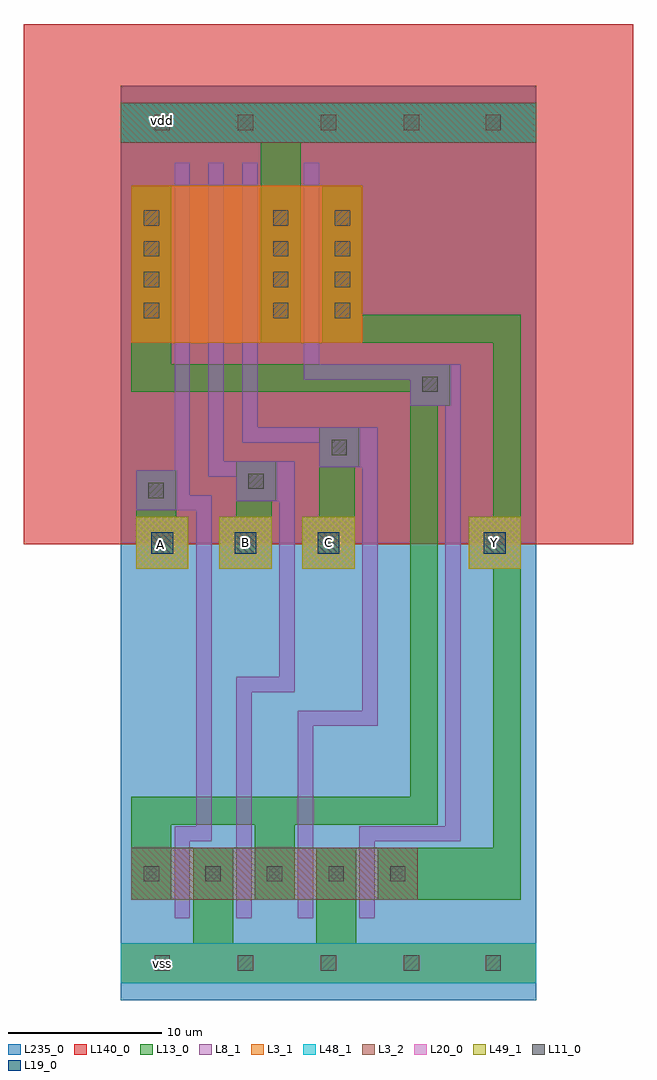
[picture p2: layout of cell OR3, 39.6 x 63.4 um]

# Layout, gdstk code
import gdstk
lib = gdstk.Library(unit=1e-6, precision=1e-09)
def R(c, l, rs):  # rectangles x0, y0, x1, y1
    for r in rs: c.add(gdstk.rectangle(r[:2], r[2:], *l))
def A(c, l, x, y, w, h, nx, ny, dx, dy):  # array of equal rectangles
    R(c, l, [(x+i*dx, y+j*dy, x+i*dx+w, y+j*dy+h) for i in range(nx) for j in range(ny)])
def P(c, l, *ps):  # polygons
    for p in ps: c.add(gdstk.Polygon(p, *l))
L3_1 = (3, 1)
L3_2 = (3, 2)
L8_1 = (8, 1)
L11_0 = (11, 0)
L13_0 = (13, 0)
L19_0 = (19, 0)
L20_0 = (20, 0)
L48_1 = (48, 1)
L49_1 = (49, 1)
L140_0 = (140, 0)
L235_0 = (235, 0)

or3 = lib.new_cell('OR3')
R(or3, L3_1, [(0,1.1,27,3.7), (0.7,42.7,15.7,52.9)])
R(or3, L3_2, [(0.7,6.5,19.3,9.9), (0,55.7,27,58.3)])
P(or3, L8_1, [(3.5,5.3),(3.5,11.3),(4.9,11.3),(4.9,31.8),(1,31.8),(1,34.4),(3.5,34.4),(3.5,54.4),(4.5,54.4),(4.5,32.8),(5.9,32.8),(5.9,10.3),(4.5,10.3),(4.5,5.3)],
  [(7.5,5.3),(7.5,21),(10.3,21),(10.3,32.4),(7.5,32.4),(7.5,34),(5.7,34),(5.7,54.4),(6.7,54.4),(6.7,35),(11.3,35),(11.3,20),(8.5,20),(8.5,5.3)],
  [(11.5,5.3),(11.5,18.8),(15.7,18.8),(15.7,34.6),(12.9,34.6),(12.9,37.2),(16.7,37.2),(16.7,17.8),(12.5,17.8),(12.5,5.3)],
  [(15.5,5.3),(15.5,11.3),(21.1,11.3),(21.1,38.6),(18.8,38.6),(18.8,40.3),(11.9,40.3),(11.9,54.4),(12.9,54.4),(12.9,41.3),(22.1,41.3),(22.1,10.3),(16.5,10.3),(16.5,5.3)],
  [(7.9,36.2),(7.9,54.4),(8.9,54.4),(8.9,37.2),(12.9,37.2),(12.9,36.2)])
A(or3, L11_0, 7.6, 1.9, 1, 1, 3, 2, 5.4, 54.6)
A(or3, L11_0, 1.5, 7.7, 1, 1, 5, 1, 4, 0)
A(or3, L11_0, 1.5, 44.3, 1, 1, 1, 4, 0, 2)
A(or3, L11_0, 9.9, 44.3, 1, 1, 1, 4, 0, 2)
A(or3, L11_0, 13.9, 44.3, 1, 1, 1, 4, 0, 2)
R(or3, L11_0, [(2.2,1.9,3.2,2.9), (7.6,1.9,8.6,2.9), (23.7,1.9,24.7,2.9), (1.8,32.6,2.8,33.6), (8.3,33.2,9.3,34.2), (13.7,35.4,14.7,36.4), (19.6,39.5,20.6,40.5), (2.2,56.5,3.2,57.5), (2.2,56.5,3.2,57.5), (7.6,56.5,8.6,57.5), (7.6,56.5,8.6,57.5), (7.6,56.5,8.6,57.5), (23.7,56.5,24.7,57.5)])
R(or3, L13_0, [(0,1.1,27,3.7), (4.7,3.7,7.3,9.9), (12.7,3.7,15.3,9.9), (1,28,4.4,31.4), (1,28,4.4,31.4), (6.4,28,9.8,31.4), (6.4,28,9.8,31.4), (11.8,28,15.2,31.4), (11.8,28,15.2,31.4), (22.6,28,26,31.4), (1,31.4,3.6,34.4), (9.1,42.7,11.7,55.7), (0,55.7,27,58.3)])
P(or3, L13_0, [(0.7,6.5),(0.7,13.2),(18.8,13.2),(18.8,39.5),(0.7,39.5),(0.7,52.9),(3.3,52.9),(3.3,41.3),(21.4,41.3),(21.4,38.6),(20.6,38.6),(20.6,11.4),(3.3,11.4),(3.3,6.5)],
  [(16.7,6.5),(16.7,9.9),(24.2,9.9),(24.2,28),(22.6,28),(22.6,31.4),(24.2,31.4),(24.2,42.7),(13.1,42.7),(13.1,52.9),(15.7,52.9),(15.7,44.5),(26,44.5),(26,6.5)],
  [(7.5,31.4),(7.5,35),(10.1,35),(10.1,32.4),(9.8,32.4),(9.8,31.4)],
  [(12.9,31.4),(12.9,37.2),(15.5,37.2),(15.5,34.6),(15.2,34.6),(15.2,31.4)],
  [(8.7,6.5),(8.7,13.2),(20.6,13.2),(20.6,11.4),(11.3,11.4),(11.3,6.5)])
A(or3, L19_0, 2, 29, 1.4, 1.4, 3, 1, 5.4, 0)
R(or3, L19_0, [(23.6,29,25,30.4)])
A(or3, L20_0, 1, 28, 3.4, 3.4, 3, 1, 5.4, 0)
R(or3, L20_0, [(22.6,28,26,31.4)])
R(or3, L48_1, [(0,1.1,27,3.7), (0,55.7,27,58.3)])
A(or3, L49_1, 1, 28, 3.4, 3.4, 3, 1, 5.4, 0)
R(or3, L49_1, [(22.6,28,26,31.4)])
R(or3, L140_0, [(-6.3,29.6,33.3,63.4)])
R(or3, L235_0, [(0,0,27,59.4)])
or3.add(gdstk.Label('Y', (24.3,29.7), layer=49, texttype=0))
or3.add(gdstk.Label('C', (13.5,29.7), layer=49, texttype=0))
or3.add(gdstk.Label('A', (2.6,29.6), layer=49, texttype=0))
or3.add(gdstk.Label('B', (8.1,29.7), layer=49, texttype=0))
or3.add(gdstk.Label('vss', (2.7,2.4), layer=48, texttype=0))
or3.add(gdstk.Label('vdd', (2.7,57.1), layer=48, texttype=0))

lib.write_gds('OR3.gds')
